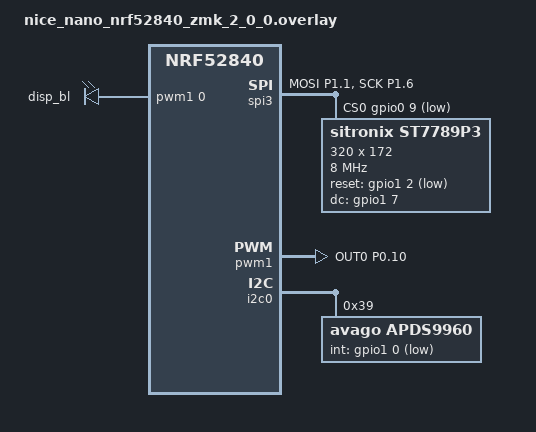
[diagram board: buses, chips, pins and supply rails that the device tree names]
/*
 * nice!nano v2 wiring for the ST7789P3 172x320 panel.
 *
 * Display pins, and the panel's own tuning, come from the wiring that has been
 * run on this hardware. The backlight is this module's own: it is a PWM LED
 * rather than a plain GPIO, because brightness.c dims it.
 *
 * The display runs on spi3, not the spi0 zmk-pacman-module's own overlay uses.
 * spi0 and i2c0 are the same physical peripheral block on the nRF52840
 * (both sit at 0x40003000 - see nrf52840.dtsi) - fine for that module, which
 * has no i2c0 node of its own, but this one also wires up the ambient light
 * sensor on i2c0 below, and the two cannot both be "okay" at once. spi3 is a
 * dedicated SPI-only block with nothing to collide with, which is why the
 * ST7789V wiring this replaced used it too. GPIO pin choice is unaffected by
 * which peripheral instance they're wired through, so the pin numbers below
 * are unchanged from the ones spi0 used.
 */

/ {
   pwmleds {
      compatible = "pwm-leds";
      disp_bl: pwm_led_1 {
          pwms = <&pwm1 0 PWM_MSEC(1) PWM_POLARITY_NORMAL>;
      };
  };
};

&spi2 {
   status = "disabled";
};

&pinctrl {
   spi3_default: spi3_default {
      group1 {
         psels = <NRF_PSEL(SPIM_MOSI, 1, 1)>,
                 <NRF_PSEL(SPIM_SCK, 1, 6)>;
      };
   };

   spi3_sleep: spi3_sleep {
      group1 {
         psels = <NRF_PSEL(SPIM_MOSI, 1, 1)>,
                 <NRF_PSEL(SPIM_SCK, 1, 6)>;
         low-power-enable;
      };
   };

   pwm1_default: pwm1_default {
      group1 {
         psels = <NRF_PSEL(PWM_OUT0, 0, 10)>;
         nordic,invert;
      };
   };

   pwm1_sleep: pwm1_sleep {
      group1 {
         psels = <NRF_PSEL(PWM_OUT0, 0, 10)>;
         low-power-enable;
      };
   };
};

&spi3 {
   compatible = "nordic,nrf-spim";
   status = "okay";
   pinctrl-0 = <&spi3_default>;
   pinctrl-1 = <&spi3_sleep>;
   pinctrl-names = "default", "sleep";
   cs-gpios = <&gpio0 9 GPIO_ACTIVE_LOW>;

   st7789p3: st7789p3@0 {
      compatible = "sitronix,st7789p3";
      reg = <0>;
      /* SPIM3 can run faster than this - up to 32 MHz - but 8 MHz is the
       * speed zmk-pacman-module actually validated this panel at, and
       * nothing here has been tested on hardware yet. Raise it once someone
       * has a unit to check the picture still comes out clean. */
      spi-max-frequency = <8000000>;
      width = <320>;
      height = <172>;
      /* MV|MX for landscape. If the image comes out mirrored or upside-down
       * on a given panel, try 0xA0 (MV|MY) or 0xE0 (MV|MX|MY) instead - this
       * is a property of how the glass is mounted, so it cannot be assumed. */
      madctl = <0x60>;
      colmod = <0x55>;
      x-offset = <0>;
      y-offset = <34>;
      inversion;
      reset-gpios = <&gpio1 2 GPIO_ACTIVE_LOW>;
      dc-gpios = <&gpio1 7 GPIO_ACTIVE_HIGH>;
   };
};

&uicr {
   /* CS is on P0.09, which defaults to the NFC antenna on nRF52840 and will
    * not drive as GPIO until it is released. This covers the backlight on
    * P0.10 as well, the other NFC pin. */
   nfct-pins-as-gpios;
};

&pwm1 {
  status = "okay";
  pinctrl-0 = <&pwm1_default>;
  pinctrl-1 = <&pwm1_sleep>;
  pinctrl-names = "default", "sleep";
};

&i2c0 {
   /* Carried over unchanged from the ST7789V wiring: this is the ambient
    * light sensor CONFIG_DONGLE_SCREEN_AMBIENT_LIGHT depends on, and it has
    * nothing to do with the panel - only the display pins changed with the
    * swap to the ST7789P3. Uses nice!nano v2's default i2c0 pins, which
    * don't collide with any of the SPI3/PWM1 pins above - unlike spi0, which
    * is why the display is on spi3 and not spi0. See the file header.
    */
   status = "okay";

   apds9960: apds9960@39 {
       compatible = "avago,apds9960";
       status = "okay";
       reg = <0x39>;
       int-gpios = <&gpio1 0 (GPIO_ACTIVE_LOW | GPIO_PULL_UP)>;
   };
};
